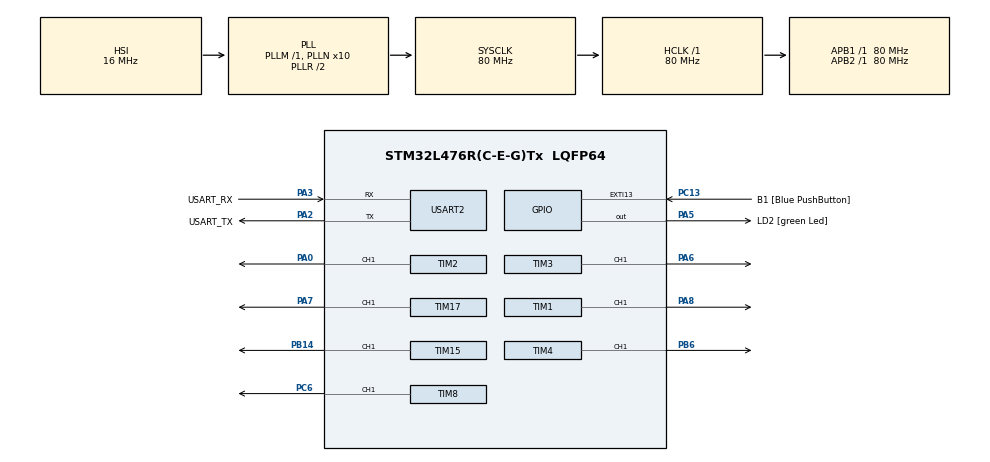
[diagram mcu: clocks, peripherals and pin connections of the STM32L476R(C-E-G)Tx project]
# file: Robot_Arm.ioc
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FREERTOS.Tasks01=defaultTask,24,128,StartDefaultTask,Default,NULL,Dynamic,NULL,NULL
FREERTOS.Timers01=Index_Finger,Index,osTimerOnce,Default,NULL,Dynamic,NULL;Thumb_Finger,Thumb,osTimerOnce,Default,NULL,Dynamic,NULL;Middle_Finger,Middle,osTimerOnce,Default,NULL,Dynamic,NULL;Ring_Finger,Ring,osTimerOnce,Default,NULL,Dynamic,NULL;Pinky_Finger,Pinky,osTimerOnce,Default,NULL,Dynamic,NULL;Wrist_Bend,wrist_bend,osTimerOnce,Default,NULL,Dynamic,NULL;Wrist_Rotate,wrist_rotate,osTimerPeriodic,Default,NULL,Dynamic,NULL
Mcu.Family=STM32L4
Mcu.Name=STM32L476R(C-E-G)Tx
Mcu.Package=LQFP64
NVIC.EXTI15_10_IRQn=true\:5\:0\:false\:false\:true\:true\:true\:true\:true
NVIC.PriorityGroup=NVIC_PRIORITYGROUP_4
NVIC.TIM5_IRQn=true\:15\:0\:false\:false\:true\:false\:false\:true\:true
NVIC.TimeBase=TIM5_IRQn
NVIC.TimeBaseIP=TIM5
PA0.Signal=S_TIM2_CH1
PA13\ (JTMS-SWDIO).GPIO_Label=TMS
PA13\ (JTMS-SWDIO).Mode=Serial_Wire
PA13\ (JTMS-SWDIO).Signal=SYS_JTMS-SWDIO
PA14\ (JTCK-SWCLK).GPIO_Label=TCK
PA14\ (JTCK-SWCLK).Mode=Serial_Wire
PA14\ (JTCK-SWCLK).Signal=SYS_JTCK-SWCLK
PA2.GPIO_Label=USART_TX
PA2.GPIO_Mode=GPIO_MODE_AF_PP
PA2.GPIO_PuPd=GPIO_NOPULL
PA2.GPIO_Speed=GPIO_SPEED_FREQ_VERY_HIGH
PA2.Mode=Asynchronous
PA2.Signal=USART2_TX
PA3.GPIO_Label=USART_RX
PA3.GPIO_Mode=GPIO_MODE_AF_PP
PA3.GPIO_PuPd=GPIO_NOPULL
PA3.GPIO_Speed=GPIO_SPEED_FREQ_VERY_HIGH
PA3.Mode=Asynchronous
PA3.Signal=USART2_RX
PA5.GPIO_Label=LD2 [green Led]
PA5.GPIO_ModeDefaultOutputPP=GPIO_MODE_OUTPUT_PP
PA5.GPIO_PuPd=GPIO_NOPULL
PA5.GPIO_Speed=GPIO_SPEED_FREQ_LOW
PA5.Signal=GPIO_Output
PA6.Signal=S_TIM3_CH1
PA7.Signal=S_TIM17_CH1
PA8.Signal=S_TIM1_CH1
PB14.Signal=S_TIM15_CH1
PB3\ (JTDO-TRACESWO).GPIO_Label=SWO
PB3\ (JTDO-TRACESWO).Signal=SYS_JTDO-SWO
PB6.Signal=S_TIM4_CH1
PC13.GPIO_Label=B1 [Blue PushButton]
PC13.GPIO_ModeDefaultEXTI=GPIO_MODE_IT_FALLING
PC13.GPIO_PuPd=GPIO_NOPULL
PC13.Signal=GPXTI13
PC14-OSC32_IN\ (PC14).Mode=LSE-External-Oscillator
PC14-OSC32_IN\ (PC14).Signal=RCC_OSC32_IN
PC15-OSC32_OUT\ (PC15).Mode=LSE-External-Oscillator
PC15-OSC32_OUT\ (PC15).Signal=RCC_OSC32_OUT
PC6.Signal=S_TIM8_CH1
PH0-OSC_IN\ (PH0).Signal=RCC_OSC_IN
PH1-OSC_OUT\ (PH1).Signal=RCC_OSC_OUT
ProjectManager.HeapSize=0x200
ProjectManager.StackSize=0x400
ProjectManager.TargetToolchain=STM32CubeIDE
RCC.ADCFreq_Value=64000000
RCC.AHBFreq_Value=80000000
RCC.APB1Freq_Value=80000000
RCC.APB1TimFreq_Value=80000000
RCC.APB2Freq_Value=80000000
RCC.APB2TimFreq_Value=80000000
RCC.CortexFreq_Value=80000000
RCC.HCLKFreq_Value=80000000
RCC.HSE_VALUE=8000000
RCC.HSI_VALUE=16000000
RCC.MSI_VALUE=4000000
RCC.PLLN=10
RCC.PLLSourceVirtual=RCC_PLLSOURCE_HSI
RCC.PREFETCH_ENABLE=1
RCC.SYSCLKFreq_VALUE=80000000
RCC.SYSCLKSource=RCC_SYSCLKSOURCE_PLLCLK
RCC.USBFreq_Value=64000000
RCC.VCOOutputFreq_Value=160000000
SH.S_TIM15_CH1.0=TIM15_CH1,PWM Generation1 CH1
SH.S_TIM17_CH1.0=TIM17_CH1,PWM Generation1 CH1
SH.S_TIM1_CH1.0=TIM1_CH1,PWM Generation1 CH1
SH.S_TIM2_CH1.0=TIM2_CH1,PWM Generation1 CH1
SH.S_TIM3_CH1.0=TIM3_CH1,PWM Generation1 CH1
SH.S_TIM4_CH1.0=TIM4_CH1,PWM Generation1 CH1
SH.S_TIM8_CH1.0=TIM8_CH1,PWM Generation1 CH1
TIM1.Channel-PWM\ Generation1\ CH1=TIM_CHANNEL_1
TIM1.Period=19999
TIM1.Prescaler=79
TIM15.Channel-PWM\ Generation1\ CH1=TIM_CHANNEL_1
TIM15.Period=19999
TIM15.Prescaler=79
TIM17.Channel=TIM_CHANNEL_1
TIM2.Channel-PWM\ Generation1\ CH1=TIM_CHANNEL_1
TIM2.Period=19999
TIM2.Prescaler=79
TIM3.Channel-PWM\ Generation1\ CH1=TIM_CHANNEL_1
TIM3.Period=19999
TIM3.Prescaler=79
TIM3.Pulse-PWM\ Generation1\ CH1=0
TIM4.Channel-PWM\ Generation1\ CH1=TIM_CHANNEL_1
TIM4.Period=19999
TIM4.Prescaler=79
TIM8.Channel-PWM\ Generation1\ CH1=TIM_CHANNEL_1
TIM8.Period=19999
TIM8.Prescaler=79
USART2.VirtualMode-Asynchronous=VM_ASYNC
VP_FREERTOS_VS_CMSIS_V2.Mode=CMSIS_V2
VP_SYS_VS_tim5.Mode=TIM5
VP_TIM17_VS_ClockSourceINT.Mode=Enable_Timer
board=NUCLEO-L476RG

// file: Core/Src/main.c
/* USER CODE BEGIN Header */
/**
  ******************************************************************************
  * @file           : main.c
  * @brief          : Main program body
  ******************************************************************************
  * @attention
  *
  * Copyright (c) 2025 STMicroelectronics.
  * All rights reserved.
  *
  * This software is licensed under terms that can be found in the LICENSE file
  * in the root directory of this software component.
  * If no LICENSE file comes with this software, it is provided AS-IS.
  *
  ******************************************************************************
  */
/* USER CODE END Header */
#include "main.h"
#include "cmsis_os.h"

/* USER CODE BEGIN Includes */
#include <string.h>
#include <stdio.h>
#include <stdlib.h>
/* USER CODE END Includes */

/* USER CODE BEGIN PD */

/* Servo control definitions */
#define SERVO_STOP      1500    // Pulse width for stop (µs)
#define SERVO_MAX_CW    1000    // Pulse width for max clockwise rotation (µs)
#define SERVO_MAX_CCW   2000    // Pulse width for max counter-clockwise rotation (µs)

/* Servo pins mapping - adjust based on your hardware connections */
#define SERVO_THUMB     TIM1, TIM_CHANNEL_1
#define SERVO_INDEX     TIM2, TIM_CHANNEL_1
#define SERVO_MIDDLE    TIM3, TIM_CHANNEL_1
#define SERVO_RING      TIM4, TIM_CHANNEL_1
#define SERVO_PINKY     TIM8, TIM_CHANNEL_1
#define SERVO_WRIST_BEND	TIM15, TIM_CHANNEL_1
#define SERVO_WRIST_ROTATE	TIM17, TIM_CHANNEL_1

#define THUMB_CLOSED 500		// Verified
#define INDEX_CLOSED 1600		// Verified
#define MIDDLE_CLOSED 1500		// Verified
#define RING_CLOSED 1500		// Verified
#define PINKY_CLOSED 900		//
#define WRIST_CLOSED 2000		//TBD idk how long it will take to get to 180.

typedef enum {
    THUMB = 0,
    INDEX,
    MIDDLE,
    RING,
    PINKY,
	WRIST_BEND,
	WRIST_ROTATE
} Finger;

typedef enum {
    STOP = 0,
    CLOCKWISE,
    COUNTERCLOCKWISE
} Direction;

/* servo states */
typedef struct {
    int speed;          // Speed percentage (0-100)
    Direction dir;      // Current direction
    uint32_t pulse;     // Current pulse width
} ServoState;

/* USER CODE END PD */

TIM_HandleTypeDef htim1;
TIM_HandleTypeDef htim2;
TIM_HandleTypeDef htim3;
TIM_HandleTypeDef htim4;
TIM_HandleTypeDef htim8;
TIM_HandleTypeDef htim15;
TIM_HandleTypeDef htim17;

UART_HandleTypeDef huart2;

/* Definitions for defaultTask */
osThreadId_t defaultTaskHandle;
const osThreadAttr_t defaultTask_attributes = {
  .name = "defaultTask",
  .stack_size = 128 * 4,
  .priority = (osPriority_t) osPriorityNormal,
};
/* Definitions for Index_Finger */
osTimerId_t Index_FingerHandle;
const osTimerAttr_t Index_Finger_attributes = {
  .name = "Index_Finger"
};
/* Definitions for Thumb_Finger */
osTimerId_t Thumb_FingerHandle;
const osTimerAttr_t Thumb_Finger_attributes = {
  .name = "Thumb_Finger"
};
/* Definitions for Middle_Finger */
osTimerId_t Middle_FingerHandle;
const osTimerAttr_t Middle_Finger_attributes = {
  .name = "Middle_Finger"
};
/* Definitions for Ring_Finger */
osTimerId_t Ring_FingerHandle;
const osTimerAttr_t Ring_Finger_attributes = {
  .name = "Ring_Finger"
};
/* Definitions for Pinky_Finger */
osTimerId_t Pinky_FingerHandle;
const osTimerAttr_t Pinky_Finger_attributes = {
  .name = "Pinky_Finger"
};
/* Definitions for Wrist_Bend */
osTimerId_t Wrist_BendHandle;
const osTimerAttr_t Wrist_Bend_attributes = {
  .name = "Wrist_Bend"
};
/* Definitions for Wrist_Rotate */
osTimerId_t Wrist_RotateHandle;
const osTimerAttr_t Wrist_Rotate_attributes = {
  .name = "Wrist_Rotate"
};
/* USER CODE BEGIN PV */
char rxBuffer[1]; /* Buffer for receiving a single character */
char message[256]; /* Buffer to store the complete message */
uint16_t messageIndex = 0;
uint8_t messageReady = 0; /* Flag to indicate a message is in buffer waiting to be processed*/

/* Global servo states */
ServoState servoStates[7] = {
    {0, STOP, SERVO_STOP},  // THUMB
    {0, STOP, SERVO_STOP},  // INDEX
    {0, STOP, SERVO_STOP},  // MIDDLE
    {0, STOP, SERVO_STOP},  // RING
    {0, STOP, SERVO_STOP},  // PINKY
	{0, STOP, SERVO_STOP},  // WRIST_BEND
	{0, STOP, SERVO_STOP}	// WRIST_ROTATE
};

/* USER CODE END PV */

void SystemClock_Config(void);
static void MX_GPIO_Init(void);
static void MX_USART2_UART_Init(void);
static void MX_TIM2_Init(void);
static void MX_TIM3_Init(void);
static void MX_TIM1_Init(void);
static void MX_TIM4_Init(void);
static void MX_TIM8_Init(void);
static void MX_TIM15_Init(void);
static void MX_TIM17_Init(void);
void StartDefaultTask(void *argument);
void Index(void *argument);
void Thumb(void *argument);
void Middle(void *argument);
void Ring(void *argument);
void Pinky(void *argument);
void wrist_bend(void *argument);
void wrist_rotate(void *argument);

/* USER CODE BEGIN PFP */

void Servo_Init(void);
void Servo_SetMotion(Finger finger, Direction direction, int speed);
void Servo_StopAll(void);
void SignLetter(char letter);
int Direction_Decider(int Desired_Position);
int TimeVariation(Finger finger, int desired_position);

static void MX_USART2_UART_Init(void);
void ProcessReceivedMessage(char* msg);
uint8_t IsButtonPressed(void);

volatile BaseType_t indexDone = pdFALSE;
volatile BaseType_t thumbDone = pdFALSE;
volatile BaseType_t middleDone = pdFALSE;
volatile BaseType_t ringDone = pdFALSE;
volatile BaseType_t pinkyDone = pdFALSE;
volatile BaseType_t wrist_BendDone = pdFALSE;
volatile BaseType_t wrist_RotateDone = pdFALSE;

volatile BaseType_t default_init = pdTRUE;

int thumb_current = 0;
int index_current = 0;
int middle_current = 0;
int ring_current = 0;
int pinky_current = 0;
int wrist_bend_current = 0;
int wrist_rotate_current = 0;

//debugging counter for subsequent letter signing
int16_t counter = 0;
char word[] = "HELLO";

int thumb_TravelTime = 0;
int index_TravelTime = 0;
int middle_TravelTime = 0;
int ring_TravelTime = 0;
int pinky_TravelTime = 0;
int wrist_bend_TravelTime = 0;
int wrist_rotate_TravelTime = 0;

int thumb_desired_position = 0;
int index_desired_position = 0;
int middle_desired_position = 0;
int ring_desired_position = 0;
int pinky_desired_position = 0;
int wrist_bend_desired_position = 0;
int wrist_rotate_desired_position = 0;

//
//int *ptr_thumb = &thumb_desired_position;
//int *ptr_index = &index_desired_position;
//int *ptr_middle;
//int *ptr_ring;
//int *ptr_pinky;

/* USER CODE END PFP */

int main(void)
{

  /* MCU Configuration--------------------------------------------------------*/

  /* Reset of all peripherals, Initializes the Flash interface and the Systick. */
  HAL_Init();

  /* Configure the system clock */
  SystemClock_Config();

  /* Initialize all configured peripherals */
  MX_GPIO_Init();
  MX_USART2_UART_Init();
  MX_TIM2_Init();
  MX_TIM3_Init();
  MX_TIM1_Init();
  MX_TIM4_Init();
  MX_TIM8_Init();
  MX_TIM15_Init();
  MX_TIM17_Init();
  /* USER CODE BEGIN 2 */

  // For testing:
//	thumb_desired_position = 0;
//	index_desired_position = 0;
//	middle_desired_position = 0;
//	ring_desired_position = 0;
//	pinky_desired_position = 900;

//  SignLetter('A');

  /* USER CODE END 2 */

  /* Init scheduler */
  osKernelInitialize();

  /* Create the timer(s) */
  /* creation of Index_Finger */
  Index_FingerHandle = osTimerNew(Index, osTimerOnce, NULL, &Index_Finger_attributes);

  /* creation of Thumb_Finger */
  Thumb_FingerHandle = osTimerNew(Thumb, osTimerOnce, NULL, &Thumb_Finger_attributes);

  /* creation of Middle_Finger */
  Middle_FingerHandle = osTimerNew(Middle, osTimerOnce, NULL, &Middle_Finger_attributes);

  /* creation of Ring_Finger */
  Ring_FingerHandle = osTimerNew(Ring, osTimerOnce, NULL, &Ring_Finger_attributes);

  /* creation of Pinky_Finger */
  Pinky_FingerHandle = osTimerNew(Pinky, osTimerOnce, NULL, &Pinky_Finger_attributes);

  /* creation of Wrist_Bend */
  Wrist_BendHandle = osTimerNew(wrist_bend, osTimerOnce, NULL, &Wrist_Bend_attributes);

  /* creation of Wrist_Rotate */
  Wrist_RotateHandle = osTimerNew(wrist_rotate, osTimerOnce, NULL, &Wrist_Rotate_attributes);

  /* Create the thread(s) */
  /* creation of defaultTask */
  defaultTaskHandle = osThreadNew(StartDefaultTask, NULL, &defaultTask_attributes);

  /* Start scheduler */
  osKernelStart();

  /* We should never get here as control is now taken by the scheduler */

  /* Infinite loop */
  /* USER CODE BEGIN WHILE */
  while (1)
  {
//	if (IsButtonPressed() && messageReady)
//	  {
//		/* Process the message when button is pressed and message is available */
//		ProcessReceivedMessage(message);
//
//		/* Reset message buffer */
//		messageIndex = 0;
//		messageReady = 0;
//		memset(message, 0, sizeof(message));
//
//		/* Debounce */
//		HAL_Delay(200);
//	  }
    /* USER CODE END WHILE */

  }
}

void SystemClock_Config(void)
{
  RCC_OscInitTypeDef RCC_OscInitStruct = {0};
  RCC_ClkInitTypeDef RCC_ClkInitStruct = {0};

  /** Configure the main internal regulator output voltage
  */
  if (HAL_PWREx_ControlVoltageScaling(PWR_REGULATOR_VOLTAGE_SCALE1) != HAL_OK)
  {
    Error_Handler();
  }

  /** Initializes the RCC Oscillators according to the specified parameters
  * in the RCC_OscInitTypeDef structure.
  */
  RCC_OscInitStruct.OscillatorType = RCC_OSCILLATORTYPE_HSI;
  RCC_OscInitStruct.HSIState = RCC_HSI_ON;
  RCC_OscInitStruct.HSICalibrationValue = RCC_HSICALIBRATION_DEFAULT;
  RCC_OscInitStruct.PLL.PLLState = RCC_PLL_ON;
  RCC_OscInitStruct.PLL.PLLSource = RCC_PLLSOURCE_HSI;
  RCC_OscInitStruct.PLL.PLLM = 1;
  RCC_OscInitStruct.PLL.PLLN = 10;
  RCC_OscInitStruct.PLL.PLLP = RCC_PLLP_DIV7;
  RCC_OscInitStruct.PLL.PLLQ = RCC_PLLQ_DIV2;
  RCC_OscInitStruct.PLL.PLLR = RCC_PLLR_DIV2;
  if (HAL_RCC_OscConfig(&RCC_OscInitStruct) != HAL_OK)
  {
    Error_Handler();
  }

  /** Initializes the CPU, AHB and APB buses clocks
  */
  RCC_ClkInitStruct.ClockType = RCC_CLOCKTYPE_HCLK|RCC_CLOCKTYPE_SYSCLK
                              |RCC_CLOCKTYPE_PCLK1|RCC_CLOCKTYPE_PCLK2;
  RCC_ClkInitStruct.SYSCLKSource = RCC_SYSCLKSOURCE_PLLCLK;
  RCC_ClkInitStruct.AHBCLKDivider = RCC_SYSCLK_DIV1;
  RCC_ClkInitStruct.APB1CLKDivider = RCC_HCLK_DIV1;
  RCC_ClkInitStruct.APB2CLKDivider = RCC_HCLK_DIV1;

  if (HAL_RCC_ClockConfig(&RCC_ClkInitStruct, FLASH_LATENCY_4) != HAL_OK)
  {
    Error_Handler();
  }
}

static void MX_TIM1_Init(void)
{

  TIM_MasterConfigTypeDef sMasterConfig = {0};
  TIM_OC_InitTypeDef sConfigOC = {0};
  TIM_BreakDeadTimeConfigTypeDef sBreakDeadTimeConfig = {0};

  htim1.Instance = TIM1;
  htim1.Init.Prescaler = 79;
  htim1.Init.CounterMode = TIM_COUNTERMODE_UP;
  htim1.Init.Period = 19999;
  htim1.Init.ClockDivision = TIM_CLOCKDIVISION_DIV1;
  htim1.Init.RepetitionCounter = 0;
  htim1.Init.AutoReloadPreload = TIM_AUTORELOAD_PRELOAD_DISABLE;
  if (HAL_TIM_PWM_Init(&htim1) != HAL_OK)
  {
    Error_Handler();
  }
  sMasterConfig.MasterOutputTrigger = TIM_TRGO_RESET;
  sMasterConfig.MasterOutputTrigger2 = TIM_TRGO2_RESET;
  sMasterConfig.MasterSlaveMode = TIM_MASTERSLAVEMODE_DISABLE;
  if (HAL_TIMEx_MasterConfigSynchronization(&htim1, &sMasterConfig) != HAL_OK)
  {
    Error_Handler();
  }
  sConfigOC.OCMode = TIM_OCMODE_PWM1;
  sConfigOC.Pulse = 0;
  sConfigOC.OCPolarity = TIM_OCPOLARITY_HIGH;
  sConfigOC.OCNPolarity = TIM_OCNPOLARITY_HIGH;
  sConfigOC.OCFastMode = TIM_OCFAST_DISABLE;
  sConfigOC.OCIdleState = TIM_OCIDLESTATE_RESET;
  sConfigOC.OCNIdleState = TIM_OCNIDLESTATE_RESET;
  if (HAL_TIM_PWM_ConfigChannel(&htim1, &sConfigOC, TIM_CHANNEL_1) != HAL_OK)
  {
    Error_Handler();
  }
  sBreakDeadTimeConfig.OffStateRunMode = TIM_OSSR_DISABLE;
  sBreakDeadTimeConfig.OffStateIDLEMode = TIM_OSSI_DISABLE;
  sBreakDeadTimeConfig.LockLevel = TIM_LOCKLEVEL_OFF;
  sBreakDeadTimeConfig.DeadTime = 0;
  sBreakDeadTimeConfig.BreakState = TIM_BREAK_DISABLE;
  sBreakDeadTimeConfig.BreakPolarity = TIM_BREAKPOLARITY_HIGH;
  sBreakDeadTimeConfig.BreakFilter = 0;
  sBreakDeadTimeConfig.Break2State = TIM_BREAK2_DISABLE;
  sBreakDeadTimeConfig.Break2Polarity = TIM_BREAK2POLARITY_HIGH;
  sBreakDeadTimeConfig.Break2Filter = 0;
  sBreakDeadTimeConfig.AutomaticOutput = TIM_AUTOMATICOUTPUT_DISABLE;
  if (HAL_TIMEx_ConfigBreakDeadTime(&htim1, &sBreakDeadTimeConfig) != HAL_OK)
  {
    Error_Handler();
  }
  HAL_TIM_MspPostInit(&htim1);

}

static void MX_TIM2_Init(void)
{

  TIM_MasterConfigTypeDef sMasterConfig = {0};
  TIM_OC_InitTypeDef sConfigOC = {0};

  htim2.Instance = TIM2;
  htim2.Init.Prescaler = 79;
  htim2.Init.CounterMode = TIM_COUNTERMODE_UP;
  htim2.Init.Period = 19999;
  htim2.Init.ClockDivision = TIM_CLOCKDIVISION_DIV1;
  htim2.Init.AutoReloadPreload = TIM_AUTORELOAD_PRELOAD_DISABLE;
  if (HAL_TIM_PWM_Init(&htim2) != HAL_OK)
  {
    Error_Handler();
  }
  sMasterConfig.MasterOutputTrigger = TIM_TRGO_RESET;
  sMasterConfig.MasterSlaveMode = TIM_MASTERSLAVEMODE_DISABLE;
  if (HAL_TIMEx_MasterConfigSynchronization(&htim2, &sMasterConfig) != HAL_OK)
  {
    Error_Handler();
  }
  sConfigOC.OCMode = TIM_OCMODE_PWM1;
  sConfigOC.Pulse = 0;
  sConfigOC.OCPolarity = TIM_OCPOLARITY_HIGH;
  sConfigOC.OCFastMode = TIM_OCFAST_DISABLE;
  if (HAL_TIM_PWM_ConfigChannel(&htim2, &sConfigOC, TIM_CHANNEL_1) != HAL_OK)
  {
    Error_Handler();
  }
  HAL_TIM_MspPostInit(&htim2);

}

static void MX_TIM3_Init(void)
{

  TIM_MasterConfigTypeDef sMasterConfig = {0};
  TIM_OC_InitTypeDef sConfigOC = {0};

  htim3.Instance = TIM3;
  htim3.Init.Prescaler = 79;
  htim3.Init.CounterMode = TIM_COUNTERMODE_UP;
  htim3.Init.Period = 19999;
  htim3.Init.ClockDivision = TIM_CLOCKDIVISION_DIV1;
  htim3.Init.AutoReloadPreload = TIM_AUTORELOAD_PRELOAD_DISABLE;
  if (HAL_TIM_PWM_Init(&htim3) != HAL_OK)
  {
    Error_Handler();
  }
  sMasterConfig.MasterOutputTrigger = TIM_TRGO_RESET;
  sMasterConfig.MasterSlaveMode = TIM_MASTERSLAVEMODE_DISABLE;
  if (HAL_TIMEx_MasterConfigSynchronization(&htim3, &sMasterConfig) != HAL_OK)
  {
    Error_Handler();
  }
  sConfigOC.OCMode = TIM_OCMODE_PWM1;
  sConfigOC.Pulse = 0;
  sConfigOC.OCPolarity = TIM_OCPOLARITY_HIGH;
  sConfigOC.OCFastMode = TIM_OCFAST_DISABLE;
  if (HAL_TIM_PWM_ConfigChannel(&htim3, &sConfigOC, TIM_CHANNEL_1) != HAL_OK)
  {
    Error_Handler();
  }
  HAL_TIM_MspPostInit(&htim3);

}

static void MX_TIM4_Init(void)
{

  TIM_MasterConfigTypeDef sMasterConfig = {0};
  TIM_OC_InitTypeDef sConfigOC = {0};

  htim4.Instance = TIM4;
  htim4.Init.Prescaler = 79;
  htim4.Init.CounterMode = TIM_COUNTERMODE_UP;
  htim4.Init.Period = 19999;
  htim4.Init.ClockDivision = TIM_CLOCKDIVISION_DIV1;
  htim4.Init.AutoReloadPreload = TIM_AUTORELOAD_PRELOAD_DISABLE;
  if (HAL_TIM_PWM_Init(&htim4) != HAL_OK)
  {
    Error_Handler();
  }
  sMasterConfig.MasterOutputTrigger = TIM_TRGO_RESET;
  sMasterConfig.MasterSlaveMode = TIM_MASTERSLAVEMODE_DISABLE;
  if (HAL_TIMEx_MasterConfigSynchronization(&htim4, &sMasterConfig) != HAL_OK)
  {
    Error_Handler();
  }
  sConfigOC.OCMode = TIM_OCMODE_PWM1;
  sConfigOC.Pulse = 0;
  sConfigOC.OCPolarity = TIM_OCPOLARITY_HIGH;
  sConfigOC.OCFastMode = TIM_OCFAST_DISABLE;
  if (HAL_TIM_PWM_ConfigChannel(&htim4, &sConfigOC, TIM_CHANNEL_1) != HAL_OK)
  {
    Error_Handler();
  }
  HAL_TIM_MspPostInit(&htim4);

}

static void MX_TIM8_Init(void)
{

  TIM_MasterConfigTypeDef sMasterConfig = {0};
  TIM_OC_InitTypeDef sConfigOC = {0};
  TIM_BreakDeadTimeConfigTypeDef sBreakDeadTimeConfig = {0};

  htim8.Instance = TIM8;
  htim8.Init.Prescaler = 79;
  htim8.Init.CounterMode = TIM_COUNTERMODE_UP;
  htim8.Init.Period = 19999;
  htim8.Init.ClockDivision = TIM_CLOCKDIVISION_DIV1;
  htim8.Init.RepetitionCounter = 0;
  htim8.Init.AutoReloadPreload = TIM_AUTORELOAD_PRELOAD_DISABLE;
  if (HAL_TIM_PWM_Init(&htim8) != HAL_OK)
  {
    Error_Handler();
  }
  sMasterConfig.MasterOutputTrigger = TIM_TRGO_RESET;
  sMasterConfig.MasterOutputTrigger2 = TIM_TRGO2_RESET;
  sMasterConfig.MasterSlaveMode = TIM_MASTERSLAVEMODE_DISABLE;
  if (HAL_TIMEx_MasterConfigSynchronization(&htim8, &sMasterConfig) != HAL_OK)
  {
    Error_Handler();
  }
  sConfigOC.OCMode = TIM_OCMODE_PWM1;
  sConfigOC.Pulse = 0;
  sConfigOC.OCPolarity = TIM_OCPOLARITY_HIGH;
  sConfigOC.OCNPolarity = TIM_OCNPOLARITY_HIGH;
  sConfigOC.OCFastMode = TIM_OCFAST_DISABLE;
  sConfigOC.OCIdleState = TIM_OCIDLESTATE_RESET;
  sConfigOC.OCNIdleState = TIM_OCNIDLESTATE_RESET;
  if (HAL_TIM_PWM_ConfigChannel(&htim8, &sConfigOC, TIM_CHANNEL_1) != HAL_OK)
  {
    Error_Handler();
  }
  sBreakDeadTimeConfig.OffStateRunMode = TIM_OSSR_DISABLE;
  sBreakDeadTimeConfig.OffStateIDLEMode = TIM_OSSI_DISABLE;
  sBreakDeadTimeConfig.LockLevel = TIM_LOCKLEVEL_OFF;
  sBreakDeadTimeConfig.DeadTime = 0;
  sBreakDeadTimeConfig.BreakState = TIM_BREAK_DISABLE;
  sBreakDeadTimeConfig.BreakPolarity = TIM_BREAKPOLARITY_HIGH;
  sBreakDeadTimeConfig.BreakFilter = 0;
  sBreakDeadTimeConfig.Break2State = TIM_BREAK2_DISABLE;
  sBreakDeadTimeConfig.Break2Polarity = TIM_BREAK2POLARITY_HIGH;
  sBreakDeadTimeConfig.Break2Filter = 0;
  sBreakDeadTimeConfig.AutomaticOutput = TIM_AUTOMATICOUTPUT_DISABLE;
  if (HAL_TIMEx_ConfigBreakDeadTime(&htim8, &sBreakDeadTimeConfig) != HAL_OK)
  {
    Error_Handler();
  }
  HAL_TIM_MspPostInit(&htim8);

}

static void MX_TIM15_Init(void)
{

  TIM_MasterConfigTypeDef sMasterConfig = {0};
  TIM_OC_InitTypeDef sConfigOC = {0};
  TIM_BreakDeadTimeConfigTypeDef sBreakDeadTimeConfig = {0};

  htim15.Instance = TIM15;
  htim15.Init.Prescaler = 79;
  htim15.Init.CounterMode = TIM_COUNTERMODE_UP;
  htim15.Init.Period = 19999;
  htim15.Init.ClockDivision = TIM_CLOCKDIVISION_DIV1;
  htim15.Init.RepetitionCounter = 0;
  htim15.Init.AutoReloadPreload = TIM_AUTORELOAD_PRELOAD_DISABLE;
  if (HAL_TIM_PWM_Init(&htim15) != HAL_OK)
  {
    Error_Handler();
  }
  sMasterConfig.MasterOutputTrigger = TIM_TRGO_RESET;
  sMasterConfig.MasterSlaveMode = TIM_MASTERSLAVEMODE_DISABLE;
  if (HAL_TIMEx_MasterConfigSynchronization(&htim15, &sMasterConfig) != HAL_OK)
  {
    Error_Handler();
  }
  sConfigOC.OCMode = TIM_OCMODE_PWM1;
  sConfigOC.Pulse = 0;
  sConfigOC.OCPolarity = TIM_OCPOLARITY_HIGH;
  sConfigOC.OCNPolarity = TIM_OCNPOLARITY_HIGH;
  sConfigOC.OCFastMode = TIM_OCFAST_DISABLE;
  sConfigOC.OCIdleState = TIM_OCIDLESTATE_RESET;
  sConfigOC.OCNIdleState = TIM_OCNIDLESTATE_RESET;
  if (HAL_TIM_PWM_ConfigChannel(&htim15, &sConfigOC, TIM_CHANNEL_1) != HAL_OK)
  {
    Error_Handler();
  }
  sBreakDeadTimeConfig.OffStateRunMode = TIM_OSSR_DISABLE;
  sBreakDeadTimeConfig.OffStateIDLEMode = TIM_OSSI_DISABLE;
  sBreakDeadTimeConfig.LockLevel = TIM_LOCKLEVEL_OFF;
  sBreakDeadTimeConfig.DeadTime = 0;
  sBreakDeadTimeConfig.BreakState = TIM_BREAK_DISABLE;
  sBreakDeadTimeConfig.BreakPolarity = TIM_BREAKPOLARITY_HIGH;
  sBreakDeadTimeConfig.AutomaticOutput = TIM_AUTOMATICOUTPUT_DISABLE;
  if (HAL_TIMEx_ConfigBreakDeadTime(&htim15, &sBreakDeadTimeConfig) != HAL_OK)
  {
    Error_Handler();
  }
  HAL_TIM_MspPostInit(&htim15);

}

static void MX_TIM17_Init(void)
{

  TIM_OC_InitTypeDef sConfigOC = {0};
  TIM_BreakDeadTimeConfigTypeDef sBreakDeadTimeConfig = {0};

  htim17.Instance = TIM17;
  htim17.Init.Prescaler = 0;
  htim17.Init.CounterMode = TIM_COUNTERMODE_UP;
  htim17.Init.Period = 65535;
  htim17.Init.ClockDivision = TIM_CLOCKDIVISION_DIV1;
  htim17.Init.RepetitionCounter = 0;
  htim17.Init.AutoReloadPreload = TIM_AUTORELOAD_PRELOAD_DISABLE;
  if (HAL_TIM_Base_Init(&htim17) != HAL_OK)
  {
    Error_Handler();
  }
  if (HAL_TIM_PWM_Init(&htim17) != HAL_OK)
  {
    Error_Handler();
  }
  sConfigOC.OCMode = TIM_OCMODE_PWM1;
  sConfigOC.Pulse = 0;
  sConfigOC.OCPolarity = TIM_OCPOLARITY_HIGH;
  sConfigOC.OCNPolarity = TIM_OCNPOLARITY_HIGH;
  sConfigOC.OCFastMode = TIM_OCFAST_DISABLE;
  sConfigOC.OCIdleState = TIM_OCIDLESTATE_RESET;
  sConfigOC.OCNIdleState = TIM_OCNIDLESTATE_RESET;
  if (HAL_TIM_PWM_ConfigChannel(&htim17, &sConfigOC, TIM_CHANNEL_1) != HAL_OK)
  {
    Error_Handler();
  }
  sBreakDeadTimeConfig.OffStateRunMode = TIM_OSSR_DISABLE;
  sBreakDeadTimeConfig.OffStateIDLEMode = TIM_OSSI_DISABLE;
  sBreakDeadTimeConfig.LockLevel = TIM_LOCKLEVEL_OFF;
  sBreakDeadTimeConfig.DeadTime = 0;
  sBreakDeadTimeConfig.BreakState = TIM_BREAK_DISABLE;
  sBreakDeadTimeConfig.BreakPolarity = TIM_BREAKPOLARITY_HIGH;
  sBreakDeadTimeConfig.AutomaticOutput = TIM_AUTOMATICOUTPUT_DISABLE;
  if (HAL_TIMEx_ConfigBreakDeadTime(&htim17, &sBreakDeadTimeConfig) != HAL_OK)
  {
    Error_Handler();
  }
  HAL_TIM_MspPostInit(&htim17);

}

static void MX_USART2_UART_Init(void)
{

  huart2.Instance = USART2;
  huart2.Init.BaudRate = 115200;
  huart2.Init.WordLength = UART_WORDLENGTH_8B;
  huart2.Init.StopBits = UART_STOPBITS_1;
  huart2.Init.Parity = UART_PARITY_NONE;
  huart2.Init.Mode = UART_MODE_TX_RX;
  huart2.Init.HwFlowCtl = UART_HWCONTROL_NONE;
  huart2.Init.OverSampling = UART_OVERSAMPLING_16;
  huart2.Init.OneBitSampling = UART_ONE_BIT_SAMPLE_DISABLE;
  huart2.AdvancedInit.AdvFeatureInit = UART_ADVFEATURE_NO_INIT;
  if (HAL_UART_Init(&huart2) != HAL_OK)
  {
    Error_Handler();
  }

}

static void MX_GPIO_Init(void)
{
  GPIO_InitTypeDef GPIO_InitStruct = {0};

  /* GPIO Ports Clock Enable */
  __HAL_RCC_GPIOC_CLK_ENABLE();
  __HAL_RCC_GPIOH_CLK_ENABLE();
  __HAL_RCC_GPIOA_CLK_ENABLE();
  __HAL_RCC_GPIOB_CLK_ENABLE();

  /*Configure GPIO pin Output Level */
  HAL_GPIO_WritePin(LD2_GPIO_Port, LD2_Pin, GPIO_PIN_RESET);

  /*Configure GPIO pin : B1_Pin */
  GPIO_InitStruct.Pin = B1_Pin;
  GPIO_InitStruct.Mode = GPIO_MODE_IT_FALLING;
  GPIO_InitStruct.Pull = GPIO_NOPULL;
  HAL_GPIO_Init(B1_GPIO_Port, &GPIO_InitStruct);

  /*Configure GPIO pin : LD2_Pin */
  GPIO_InitStruct.Pin = LD2_Pin;
  GPIO_InitStruct.Mode = GPIO_MODE_OUTPUT_PP;
  GPIO_InitStruct.Pull = GPIO_NOPULL;
  GPIO_InitStruct.Speed = GPIO_SPEED_FREQ_LOW;
  HAL_GPIO_Init(LD2_GPIO_Port, &GPIO_InitStruct);

  /* EXTI interrupt init*/
  HAL_NVIC_SetPriority(EXTI15_10_IRQn, 5, 0);
  HAL_NVIC_EnableIRQ(EXTI15_10_IRQn);

}

/* USER CODE BEGIN 4 */
/**
 * @brief Sets the speed and direction of a servo
 * @param finger: Which finger (THUMB, INDEX, MIDDLE, RING, PINKY)
 * @param direction: STOP, CLOCKWISE, or COUNTERCLOCKWISE
 * @param speed: Speed percentage (0-100)
 * @retval None
 */
void Servo_SetMotion(Finger finger, Direction direction, int speed) {
    uint32_t pulse;

    // Clamp speed to 0-100%
    if (speed < 0) speed = 0;
    if (speed > 100) speed = 100;

    // Calculate pulse width based on direction and speed
    if (direction == STOP) {
        pulse = SERVO_STOP;
    } else if (direction == CLOCKWISE) {
        // Map 0-100% to SERVO_STOP-SERVO_MAX_CW
        pulse = SERVO_STOP - ((SERVO_STOP - SERVO_MAX_CW) * speed / 100);
    } else { // COUNTERCLOCKWISE
        // Map 0-100% to SERVO_STOP-SERVO_MAX_CCW
        pulse = SERVO_STOP + ((SERVO_MAX_CCW - SERVO_STOP) * speed / 100);
    }

    // Update servo state
    servoStates[finger].speed = speed;
    servoStates[finger].dir = direction;
    servoStates[finger].pulse = pulse;

    // Apply pulse width to the appropriate timer
    switch (finger) {
        case THUMB:
            __HAL_TIM_SET_COMPARE(&htim1, TIM_CHANNEL_1, pulse);
            break;
        case INDEX:
            __HAL_TIM_SET_COMPARE(&htim2, TIM_CHANNEL_1, pulse);
            break;
        case MIDDLE:
            __HAL_TIM_SET_COMPARE(&htim3, TIM_CHANNEL_1, pulse);
            break;
        case RING:
            __HAL_TIM_SET_COMPARE(&htim4, TIM_CHANNEL_1, pulse);
            break;
        case PINKY:
            __HAL_TIM_SET_COMPARE(&htim8, TIM_CHANNEL_1, pulse);
            break;
        case WRIST_BEND:
        	__HAL_TIM_SET_COMPARE(&htim15, TIM_CHANNEL_1, pulse);
        	break;
        case WRIST_ROTATE:
        	__HAL_TIM_SET_COMPARE(&htim17, TIM_CHANNEL_1, pulse);
        	break;
    	}
	}

// Helps decided whether servo should move clockwise or counter-clockwise
int Direction_Decider(int Desired_Position){
	if(Desired_Position < 0){
		return CLOCKWISE;
	}
	else if(Desired_Position > 0){
		return COUNTERCLOCKWISE;
	}
	else{
		return STOP;
	}
}

	/*Parameters: Which finger is being moved, and the desired position
	 * Returns: integer of calculated time to move finger that far
	 * This program calculated how long the finger must move to reach the desired position based off of observations. */
	int TimeVariation(Finger finger, int desired_position){
		// Checks if the finger is moving down, if it is no variation required
		if(desired_position < 0){
			desired_position *= -1;
			return desired_position;
		}
		else if(desired_position == 0)
			return 0;
		// Actual time variation calculations based on testing
		else {
		return desired_position *= 0.5;
		}
	}

	/**
	 * @brief Initialize all servo timers and start PWM
	 * @param None
	 * @retval None
	 */
/* USER CODE END 4 */

void StartDefaultTask(void *argument)
{
  /* USER CODE BEGIN 5 */
  /* Infinite loop */

	// Controls whether hand signs "BYUI" (1), or "HELLO WORLD" (0)
	int byui = 1;

  for(;;)
  {
	  if(default_init){

			thumb_TravelTime = TimeVariation(THUMB, thumb_desired_position);
			index_TravelTime = TimeVariation(INDEX, index_desired_position);
			middle_TravelTime = TimeVariation(MIDDLE, middle_desired_position);
			ring_TravelTime = TimeVariation(RING, ring_desired_position);
			pinky_TravelTime = TimeVariation(PINKY, pinky_desired_position);
			wrist_bend_TravelTime = TimeVariation(WRIST_BEND, wrist_bend_desired_position);
			wrist_rotate_TravelTime = TimeVariation(WRIST_ROTATE, wrist_rotate_desired_position);

			if(thumb_TravelTime != 0){
				HAL_TIM_PWM_Start(&htim1, TIM_CHANNEL_1);
				Servo_SetMotion(THUMB, Direction_Decider(thumb_desired_position), 100);
				osTimerStart(Thumb_FingerHandle, thumb_TravelTime);
			}
			else if(thumb_TravelTime == 0){
				thumbDone = pdTRUE;
			}

			if(index_TravelTime != 0){
				HAL_TIM_PWM_Start(&htim2, TIM_CHANNEL_1);
				Servo_SetMotion(INDEX, Direction_Decider(index_desired_position), 100);
				osTimerStart(Index_FingerHandle, index_TravelTime);
			}
			else if(index_TravelTime == 0){
				indexDone = pdTRUE;
			}

			if(middle_TravelTime != 0){
				HAL_TIM_PWM_Start(&htim3, TIM_CHANNEL_1);
				Servo_SetMotion(MIDDLE, Direction_Decider(middle_desired_position), 100);
				osTimerStart(Middle_FingerHandle, middle_TravelTime);
			}
			else if(middle_TravelTime == 0){
				middleDone = pdTRUE;
			}

			if(ring_TravelTime != 0){
				HAL_TIM_PWM_Start(&htim4, TIM_CHANNEL_1);
				Servo_SetMotion(RING, Direction_Decider(ring_desired_position), 100);
				osTimerStart(Ring_FingerHandle, ring_TravelTime);
			}
			else if(ring_TravelTime == 0){
				ringDone = pdTRUE;
			}

			if(pinky_TravelTime != 0){
				HAL_TIM_PWM_Start(&htim8, TIM_CHANNEL_1);
				Servo_SetMotion(PINKY, Direction_Decider(pinky_desired_position), 100);
				osTimerStart(Pinky_FingerHandle, pinky_TravelTime);
			}
			else if(pinky_TravelTime == 0){
				pinkyDone = pdTRUE;
			}

			default_init = pdFALSE;
	  }
	  // Checks if all timers have completed
	  if(indexDone && thumbDone && middleDone && ringDone && pinkyDone){
		  osDelay(1000);
		  indexDone = pdFALSE;
		  thumbDone = pdFALSE;
		  middleDone = pdFALSE;
		  ringDone = pdFALSE;
		  pinkyDone = pdFALSE;
		  wrist_BendDone = pdFALSE;
		  wrist_RotateDone = pdFALSE;

		  index_current = abs(index_desired_position);
		  thumb_current = abs(thumb_desired_position);
		  middle_current = abs(middle_desired_position);
		  ring_current = abs(ring_desired_position);
		  pinky_current = abs(pinky_desired_position);

		  if(byui == 0){

			  switch(counter){
			  case 0:
				  // Hard Code signing 'H'
				  thumb_desired_position = -1*THUMB_CLOSED;
				  index_desired_position = 0;
				  middle_desired_position = 0;
				  ring_desired_position = -1*RING_CLOSED;
				  pinky_desired_position = -1*PINKY_CLOSED;
				  default_init = pdTRUE;
				  break;
			  case 1:
				  // Hard Code signing 'E'
				  thumb_desired_position = 0.5*THUMB_CLOSED;
				  index_desired_position = -0.25*INDEX_CLOSED;
				  middle_desired_position = -0.25*MIDDLE_CLOSED;
				  ring_desired_position = 0.75*RING_CLOSED;
				  pinky_desired_position = 0.75*PINKY_CLOSED;
				  default_init = pdTRUE;
				  break;
			  case 2:
				  // Hard Code signing 'L'
				  thumb_desired_position = 0.5*THUMB_CLOSED;
				  index_desired_position = 0.5*INDEX_CLOSED;
				  middle_desired_position = -0.75*MIDDLE_CLOSED;
				  ring_desired_position = -0.75*RING_CLOSED;
				  pinky_desired_position = -0.75*PINKY_CLOSED;
				  default_init = pdTRUE;
				  break;
			  case 3:
				  // Hard Code signing slight movement from 'L'
				  thumb_desired_position = -0.25*THUMB_CLOSED;
				  index_desired_position = -0.25*INDEX_CLOSED;
				  middle_desired_position = 0;
				  ring_desired_position = 0;
				  pinky_desired_position = 0;
				  default_init = pdTRUE;
				  break;
			  case 4:
				  // Hard Code signing back to 'L' for double L
				  thumb_desired_position = 0.5*THUMB_CLOSED;
				  index_desired_position = 0.5*INDEX_CLOSED;
				  middle_desired_position = 0;
				  ring_desired_position = 0;
				  pinky_desired_position = 0;
				  default_init = pdTRUE;
				  break;
			  case 5:
				  // Hard Code signing 'O'
				  thumb_desired_position = 0*THUMB_CLOSED;
				  index_desired_position = -0.3*INDEX_CLOSED;
				  middle_desired_position = 0.5*MIDDLE_CLOSED;
				  ring_desired_position = 0.75*RING_CLOSED;
				  pinky_desired_position = 0.75*PINKY_CLOSED;
				  default_init = pdTRUE;
				  break;
			  case 6:
				  // Hard Code signing space/pause
				  thumb_desired_position = 0;
				  index_desired_position = 0;
				  middle_desired_position = 0;
				  ring_desired_position = 0;
				  pinky_desired_position = 0;
				  default_init = pdTRUE;
				  break;
			  case 7:
				  // Hard Code signing 'W'
				  thumb_desired_position = -1*THUMB_CLOSED;
				  index_desired_position = 0.75*INDEX_CLOSED;
				  middle_desired_position = 0.75*MIDDLE_CLOSED;
				  ring_desired_position = 0.5*RING_CLOSED;
				  pinky_desired_position = -0.5*PINKY_CLOSED;
				  default_init = pdTRUE;
				  break;
			  case 8:
				  // Hard Code signing 'O'
				  thumb_desired_position = 0.5*THUMB_CLOSED;
				  index_desired_position = -0.3*INDEX_CLOSED;
				  middle_desired_position = -0.35*MIDDLE_CLOSED;
				  ring_desired_position = -0.3*RING_CLOSED;
				  pinky_desired_position = 0.75*PINKY_CLOSED;
				  default_init = pdTRUE;
				  break;
			  case 9:
				  // Hard Code signing 'R'
				  thumb_desired_position = 0;
				  index_desired_position = 0.35*INDEX_CLOSED;
				  middle_desired_position = 0.5*MIDDLE_CLOSED;
				  ring_desired_position = -0.5*RING_CLOSED;
				  pinky_desired_position = -0.65*PINKY_CLOSED;
				  default_init = pdTRUE;
				  break;
			  case 10:
				  // Hard Code signing 'L'
				  thumb_desired_position = 1*THUMB_CLOSED;
				  index_desired_position = 0.3*INDEX_CLOSED;
				  middle_desired_position = -1*MIDDLE_CLOSED;
				  ring_desired_position = 0;
				  pinky_desired_position = 0;
				  default_init = pdTRUE;
				  break;
			  case 11:
				  // Hard Code signing 'D'
				  thumb_desired_position = -1*THUMB_CLOSED;
				  index_desired_position = 0;
				  middle_desired_position = 0.25*MIDDLE_CLOSED;
				  ring_desired_position = 0.25*RING_CLOSED;
				  pinky_desired_position = 0.25*PINKY_CLOSED;
				  default_init = pdTRUE;
				  break;
			  case 12:
				  // Hard code reset
				  thumb_desired_position = 0.5*THUMB_CLOSED;
				  index_desired_position = -0.2*INDEX_CLOSED;
				  middle_desired_position = 0.5*MIDDLE_CLOSED;
				  ring_desired_position = 0.65*RING_CLOSED;
				  pinky_desired_position = 0.65*PINKY_CLOSED;
				  default_init = pdTRUE;
				  break;
			  default:
				  break;
			  }
		  }
		  else if(byui == 1){
			  switch(counter){
			  case 0:
				  default_init = pdTRUE;
				  // Hard Code signing
				  thumb_desired_position = -1*THUMB_CLOSED;
				  index_desired_position = 0;
				  middle_desired_position = 0;
				  ring_desired_position = 0;
				  pinky_desired_position = 0;
				  break;
			  case 1:
				  default_init = pdTRUE;
				  // Hard Code signing
				  thumb_desired_position = THUMB_CLOSED;
				  index_desired_position = -1*INDEX_CLOSED;
				  middle_desired_position = -1*MIDDLE_CLOSED;
				  ring_desired_position = -1*RING_CLOSED;
				  pinky_desired_position = 0;
				  break;
			  case 2:
				  default_init = pdTRUE;
				  // Hard Code signing
				  thumb_desired_position = -1*THUMB_CLOSED;
				  index_desired_position = 1.1*INDEX_CLOSED;
				  middle_desired_position = MIDDLE_CLOSED;
				  ring_desired_position = 0;
				  pinky_desired_position = -1*PINKY_CLOSED;
				  break;
			  case 3:
				  default_init = pdTRUE;
					thumb_desired_position = 0;
					index_desired_position = -1*INDEX_CLOSED;
					middle_desired_position = -1* MIDDLE_CLOSED;
					ring_desired_position = 0;
					pinky_desired_position = PINKY_CLOSED;
				  break;
			  case 4:
				  default_init = pdTRUE;
				  // Hard Code signing
				  thumb_desired_position = -0.75*THUMB_CLOSED;
				  index_desired_position = 0.75*INDEX_CLOSED;
				  middle_desired_position = 0.75*MIDDLE_CLOSED;
				  ring_desired_position = RING_CLOSED;
				  pinky_desired_position = 0;
				  break;
			  default:
				  break;
			  }
		  }
			  counter += 1;
	  }

	  osDelay(1);
  }
  /* USER CODE END 5 */
}

/* Index function */
void Index(void *argument)
{
  /* USER CODE BEGIN Index */
	HAL_TIM_PWM_Stop(&htim2, TIM_CHANNEL_1);
	indexDone = pdTRUE;
  /* USER CODE END Index */
}

/* Thumb function */
void Thumb(void *argument)
{
  /* USER CODE BEGIN Thumb */
	HAL_TIM_PWM_Stop(&htim1, TIM_CHANNEL_1);
	thumbDone = pdTRUE;
  /* USER CODE END Thumb */
}

/* Middle function */
void Middle(void *argument)
{
  /* USER CODE BEGIN Middle */
	HAL_TIM_PWM_Stop(&htim3, TIM_CHANNEL_1);
	middleDone = pdTRUE;
  /* USER CODE END Middle */
}

/* Ring function */
void Ring(void *argument)
{
  /* USER CODE BEGIN Ring */
	HAL_TIM_PWM_Stop(&htim4, TIM_CHANNEL_1);
	ringDone = pdTRUE;
  /* USER CODE END Ring */
}

/* Pinky function */
void Pinky(void *argument)
{
  /* USER CODE BEGIN Pinky */
	HAL_TIM_PWM_Stop(&htim8, TIM_CHANNEL_1);
	pinkyDone = pdTRUE;
  /* USER CODE END Pinky */
}

/* wrist_bend function */
void wrist_bend(void *argument)
{
  /* USER CODE BEGIN wrist_bend */
		HAL_TIM_PWM_Stop(&htim15, TIM_CHANNEL_1);
		wrist_BendDone = pdTRUE;
		wrist_bend_current = wrist_bend_desired_position;
  /* USER CODE END wrist_bend */
}

/* wrist_rotate function */
void wrist_rotate(void *argument)
{
  /* USER CODE BEGIN wrist_rotate */
	HAL_TIM_PWM_Stop(&htim17, TIM_CHANNEL_1);
	wrist_RotateDone = pdTRUE;
	wrist_rotate_current = wrist_rotate_desired_position;
  /* USER CODE END wrist_rotate */
}

void HAL_TIM_PeriodElapsedCallback(TIM_HandleTypeDef *htim)
{
  if (htim->Instance == TIM5)
  {
    HAL_IncTick();
  }
}

void Error_Handler(void)
{
  __disable_irq();
  while (1)
  {
  }
}
